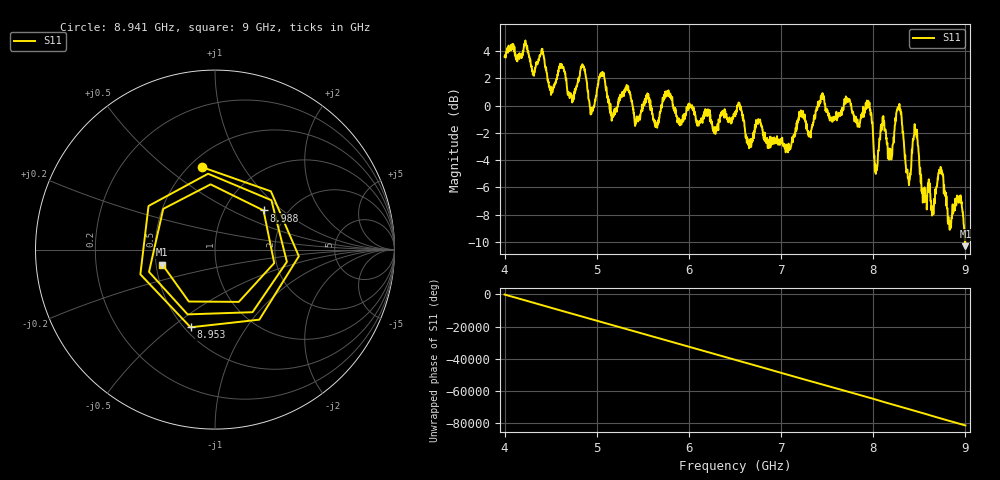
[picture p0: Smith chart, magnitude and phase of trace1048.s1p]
! Created with skrf 1.8.0 (http://scikit-rf.org).
# Hz S RI R 50.0
!freq ReS11 ImS11
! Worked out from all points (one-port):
!   1601 points, 4 GHz to 9 GHz, reference 50 ohm
!   lowest |S11| = -10.3 dB at 9 GHz (marker M1), VSWR 1.88, Z = 27 - j4.95 ohm
!   |S11| at or under -10 dB: 8.998209 GHz to end of sweep
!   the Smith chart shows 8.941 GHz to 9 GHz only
!   S11 on the Smith chart (normalised r, x): 8.941 GHz: 0.58, +0.68; 8.953 GHz: 0.54, -0.59; 8.988 GHz: 1.52, +0.75; 9 GHz: 0.54, -0.10
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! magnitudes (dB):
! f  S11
! 4 GHz  3.6
! 4.406 GHz  4.1
! 4.506 GHz  0.9
! 4.625 GHz  2.8
! 4.728 GHz  0.6
! 4.853 GHz  2.9
! 4.947 GHz  -0.4
! 5.05 GHz  2.2
! 5.162 GHz  -1.1
! 5.25 GHz  0.4
! 5.875 GHz  -1.2
! 6.5 GHz  -0.8
! 6.653 GHz  -3.1
! 7.125 GHz  -2.5
! 7.444 GHz  0.9
! 7.75 GHz  0.3
! 7.956 GHz  0.1
! 8.031 GHz  -4.5
! 8.281 GHz  0.0
! 8.375 GHz  -5.3
! 8.456 GHz  -1.7
! 8.559 GHz  -6.4
! 8.731 GHz  -4.5
! 8.828 GHz  -9.1
! 8.941 GHz  -6.7
! 8.953 GHz  -6.9
! 8.988 GHz  -9.2
! 9 GHz  -10.3
